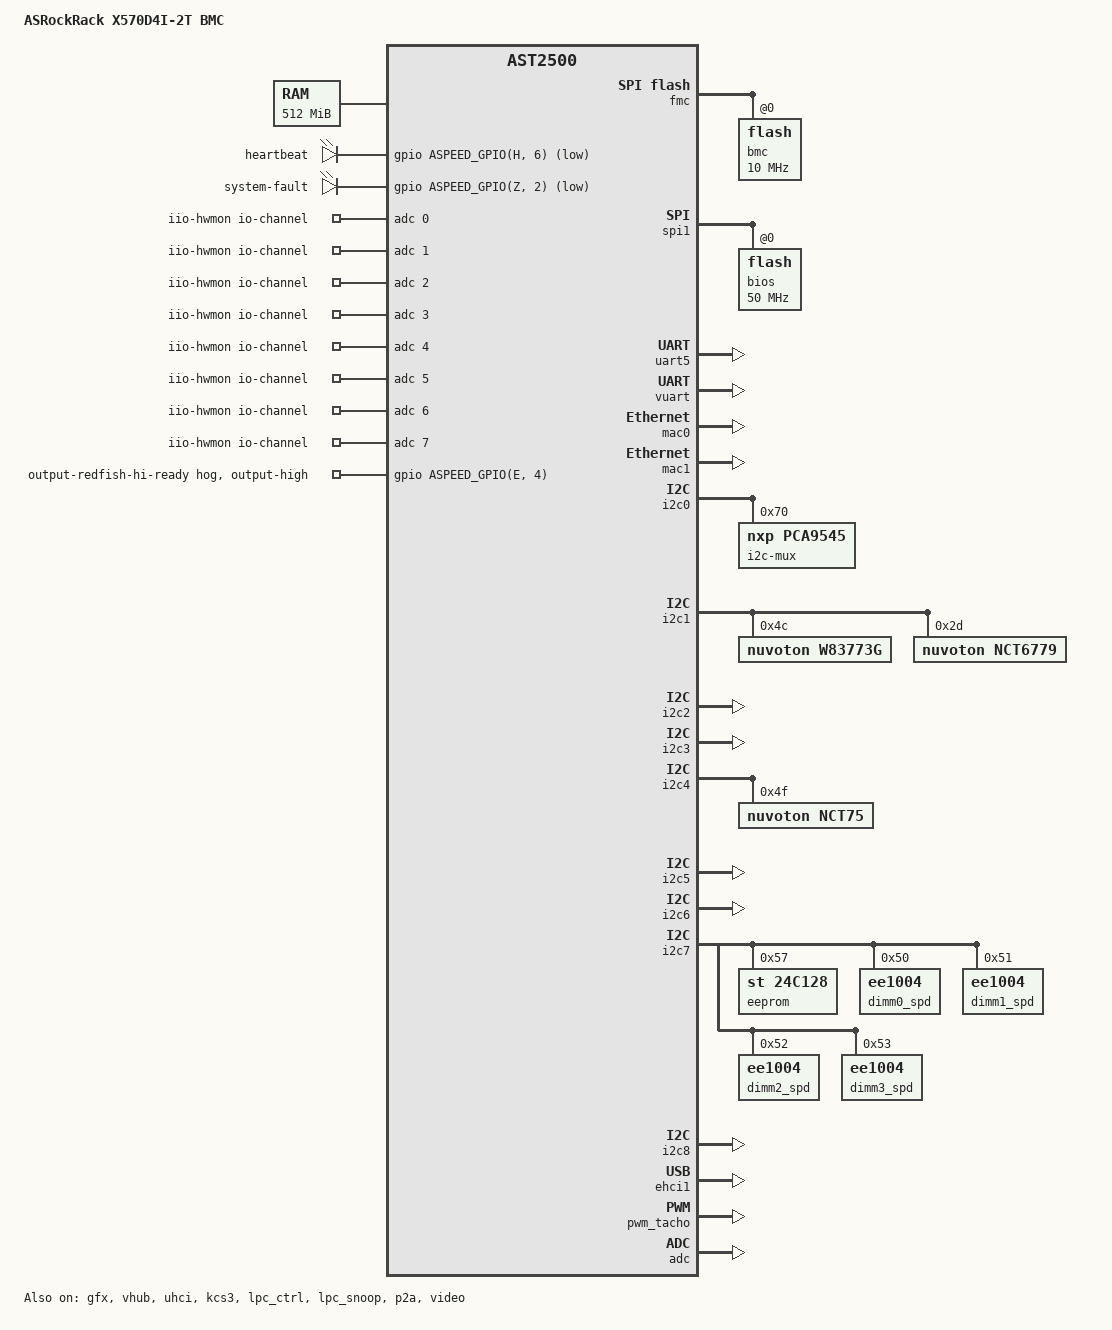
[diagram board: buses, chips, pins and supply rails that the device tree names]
// SPDX-License-Identifier: GPL-2.0+
/dts-v1/;
#include "aspeed-g5.dtsi"
#include <dt-bindings/gpio/aspeed-gpio.h>

/ {
	model = "ASRockRack X570D4I-2T BMC";
	compatible = "asrock,x570d4i2t-bmc", "aspeed,ast2500";

	aliases {
		i2c40 = &i2c0mux0ch0;
		i2c41 = &i2c0mux0ch1;
		i2c42 = &i2c0mux0ch2;
		i2c43 = &i2c0mux0ch3;
	};

	chosen {
		stdout-path = &uart5;
	};

	memory@80000000 {
		reg = <0x80000000 0x20000000>;
	};

	reserved-memory {
		#address-cells = <1>;
		#size-cells = <1>;
		ranges;

		pci_memory: region@9a000000 {
			no-map;
			reg = <0x9a000000 0x00010000>; /* 64K */
		};

		video_engine_memory: jpegbuffer {
			size = <0x02800000>;	/* 40M */
			alignment = <0x01000000>;
			compatible = "shared-dma-pool";
			reusable;
		};

		gfx_memory: framebuffer {
			size = <0x01000000>;
			alignment = <0x01000000>;
			compatible = "shared-dma-pool";
			reusable;
		};
	};

	leds {
		compatible = "gpio-leds";

		/*
		 * Legacy node-name LED labelling — matches the rest of the
		 * ASRock OpenBMC family (ROMED8HM3, SPC621D8HM3, E3C246D4I,
		 * E3C256D4I) and lets the shared phosphor-led-manager
		 * led-group-config.json target these by name.
		 */
		heartbeat {
			gpios = <&gpio ASPEED_GPIO(H, 6) GPIO_ACTIVE_LOW>;
			linux,default-trigger = "timer";
		};

		system-fault {
			gpios = <&gpio ASPEED_GPIO(Z, 2) GPIO_ACTIVE_LOW>;
			panic-indicator;
		};
	};

	iio-hwmon {
		compatible = "iio-hwmon";
		io-channels = <&adc 0>, <&adc 1>, <&adc 2>, <&adc 3>, <&adc 4>,
			<&adc 5>, <&adc 6>, <&adc 7>, <&adc 8>, <&adc 9>,
			<&adc 10>, <&adc 11>, <&adc 12>;
	};
};

&gpio {
	status = "okay";
	gpio-line-names =
	/*  A */ "input-locatorled-n", "", "", "", "", "", "", "",
	/*  B */ "input-bios-post-cmplt-n", "", "", "", "", "", "", "",
	/*  C */ "", "", "", "", "", "", "control-locatorbutton-n", "",
	/*  D */ "button-power-n", "control-power-n", "button-reset-n",
		 "control-reset-n", "", "", "", "",
	/*  E */ "", "", "", "", "output-redfish-hi-ready", "", "", "",
	/*  F */ "", "", "", "", "", "", "", "",
	/*  G */ "output-hwm-vbat-enable", "input-id0-n", "input-id1-n",
		 "input-id2-n", "input-aux-smb-alert-n", "",
		 "input-psu-smb-alert-n", "",
	/*  H */ "", "", "", "", "input-mfg-mode-n", "",
		 "led-heartbeat-n", "input-case-open-n",
	/*  I */ "", "", "", "", "", "", "", "",
	/*  J */ "output-bmc-ready-n", "control-bios-spi-mux-n", "", "", "", "", "", "",
	/*  K */ "", "", "", "", "", "", "", "",
	/*  L */ "", "", "", "", "", "", "", "",
	/*  M */ "", "", "", "", "", "", "", "",
	/*  N */ "", "", "", "", "", "", "", "",
	/*  O */ "", "", "", "", "", "", "", "",
	/*  P */ "", "", "", "", "", "", "", "",
	/*  Q */ "", "", "", "", "input-bmc-smb-present-n", "", "",
		 "input-pcie-wake-n",
	/*  R */ "", "", "", "", "", "", "", "",
	/*  S */ "input-bmc-pchhot-n", "", "", "", "", "", "", "",
	/*  T */ "", "", "", "", "", "", "", "",
	/*  U */ "", "", "", "", "", "", "", "",
	/*  V */ "", "", "", "", "", "", "", "",
	/*  W */ "", "", "", "", "", "", "", "",
	/*  X */ "", "", "", "", "", "", "", "",
	/*  Y */ "input-sleep-s3-n", "input-sleep-s5-n", "", "", "", "",
		 "", "",
	/*  Z */ "", "", "led-fault-n", "output-bmc-throttle-n", "", "",
		 "", "",
	/* AA */ "input-cpu1-thermtrip-latch-n", "",
		 "input-cpu1-prochot-n", "", "", "", "", "",
	/* AB */ "", "input-power-good", "", "", "", "", "", "",
	/* AC */ "", "", "", "", "", "", "", "";

	/*
	 * Drive GPIOE4 high as a "BMC ready" flag for the host BIOS Redfish Host
	 * Interface. RedfishHi (DXE) probes the AST2500 Super-I/O at host I/O
	 * 0x4E/0x4F, selects logical device 0x0D (the iLPC2AHB bridge) and reads
	 * AHB 0x1E780020 (GPIO E/F/G/H data) bit4 = GPIOE4; if it is not 1 it
	 * aborts before bringing up Redfish-over-USB on usb0. The Super-I/O decode
	 * + iLPC2AHB bridge are kept enabled by the u-boot change
	 * (CONFIG_ASPEED_ENABLE_SUPERIO + the isolate_bmc HICRB patch).
	 */
	redfish-hi-ready-hog {
		gpio-hog;
		gpios = <ASPEED_GPIO(E, 4) GPIO_ACTIVE_HIGH>;
		output-high;
		line-name = "output-redfish-hi-ready";
	};
};

&fmc {
	status = "okay";
	flash@0 {
		status = "okay";
		label = "bmc";
		m25p,fast-read;
		spi-max-frequency = <10000000>;
#include "openbmc-flash-layout-64.dtsi"
	};
};

&spi1 {
	status = "okay";
	pinctrl-names = "default";
	pinctrl-0 = <&pinctrl_spi1_default>;
	flash@0 {
		status = "okay";
		label = "bios";
		m25p,fast-read;
		spi-max-frequency = <50000000>;
	};
};

&uart5 {
	status = "okay";
};

&vuart {
	status = "okay";
};

&mac0 {
	/* Dedicated 1GbE management port (Realtek RTL8211E) */
	status = "okay";
	pinctrl-names = "default";
	pinctrl-0 = <&pinctrl_rgmii1_default &pinctrl_mdio1_default>;

	nvmem-cells = <&eth0_macaddress>;
	nvmem-cell-names = "mac-address";
};

&mac1 {
	/* NC-SI sideband to Intel X550-AT2 dual 10GbE */
	status = "okay";
	pinctrl-names = "default";
	pinctrl-0 = <&pinctrl_rmii2_default &pinctrl_mdio2_default>;
	use-ncsi;

	nvmem-cells = <&eth1_macaddress>;
	nvmem-cell-names = "mac-address";
};

&i2c0 {
	/*
	 * PCIe slot and M.2 SMBus. PCA9545 4-channel mux confirmed at 0x70
	 * by live i2cdetect (NACK on i2c4, ACK on i2c0).
	 * Channels: PCIe x16 slot | M.2 slot 1 (NVMe MI) | M.2 slot 2 | Reserved
	 */
	status = "okay";

	i2c-mux@70 {
		compatible = "nxp,pca9545";
		reg = <0x70>;
		#address-cells = <1>;
		#size-cells = <0>;

		i2c0mux0ch0: i2c@0 {
			/* SMBus on PCIe slot (X570D4I-2T: single PCIe x16) */
			#address-cells = <1>;
			#size-cells = <0>;
			reg = <0>;
		};

		i2c0mux0ch1: i2c@1 {
			/*
			 * SMBus on M.2 slot 1 — carries the NVMe MI sideband
			 * used by the stock BMC to report SDR sensor #56
			 * "NVME HDD" temperature. The actual NVMe-MI protocol
			 * is implemented in userspace by dbus-sensors's
			 * NVMeSensor, configured via entity-manager rather
			 * than a kernel driver.
			 */
			#address-cells = <1>;
			#size-cells = <0>;
			reg = <1>;
		};

		i2c0mux0ch2: i2c@2 {
			/* SMBus on M.2 slot 2 */
			#address-cells = <1>;
			#size-cells = <0>;
			reg = <2>;
		};

		i2c0mux0ch3: i2c@3 {
			/* Reserved */
			#address-cells = <1>;
			#size-cells = <0>;
			reg = <3>;
		};
	};
};

&i2c1 {
	/*
	 * Hardware-monitor SMBus (HWM_SMB).
	 *  - 0x4C: Nuvoton W83773G temperature monitor
	 *  - 0x2D: Nuvoton NCT6779/NCT6796 family Super-I/O hardware monitor,
	 *    accessed via its "back door" i2c interface. The host BIOS
	 *    continues to drive the same chip via LPC (front door) and owns
	 *    fan PWM/tach control through its built-in Smart Fan curve. The
	 *    BMC binds nct6775-i2c read-only and surfaces SYSTIN, CPUTIN,
	 *    AUXTIN, the X570 chipset temp (PCH_CHIP_TEMP, == "X570 Temp" on
	 *    the stock MegaRAC), voltages, and fan RPMs into hwmon.
	 */
	status = "okay";

	w83773g@4c {
		compatible = "nuvoton,w83773g";
		reg = <0x4c>;
	};

	nct6779@2d {
		compatible = "nuvoton,nct6779";
		reg = <0x2d>;
	};
};

&i2c2 {
	/*
	 * PSU_SMB1 SMBus (AMI IPMI.conf "PSU_SMB1"). Two devices live here, but
	 * NEITHER is usable, so no child nodes are instantiated:
	 *  - 0x38: Supermicro PWS-505P-1H PSU. Spec'd PMBus, but non-standard:
	 *    the Linux generic `pmbus` driver fails capability ID, raw reads do
	 *    not decode as LINEAR, and the stock MegaRAC SDR contains NO PSU
	 *    power/voltage/current sensor (it never read PSU telemetry either).
	 *  - 0x3C: AMD SB-RMI (APML). Version reg 0x20 reads 0x17, but the
	 *    SB-RMI CTRL/STATUS regs and the MP1 power mailbox NAK all BMC
	 *    access (driver probe fails -EIO). The stock firmware ships with
	 *    SUPPORT_APML_IFC=0 — the OEM disabled APML, and AM4/X570 silicon
	 *    does not expose the EPYC-class SB-RMI power mailbox to the BMC.
	 * Net: no power telemetry or power cap source exists on this board.
	 * The bus is left enabled for manual i2c access / future probing.
	 */
	status = "okay";
};

&i2c3 {
	status = "okay";
};

&i2c4 {
	/*
	 * Auxiliary SMBus. Confirmed live device: Nuvoton NCT75 LM75-compatible
	 * temperature sensor at 0x4f (vendor reg 0xfe=0xde, temp reads ~65°C).
	 * The PCA9545 mux originally assumed here (0x70) is actually on i2c0.
	 */
	status = "okay";

	nct75@4f {
		/*
		 * The NCT75 is LM75-register-compatible, but the kernel lm75
		 * driver's match tables (6.18) have no "nuvoton,nct75" entry —
		 * with only that compatible the driver never binds, no hwmon
		 * appears, and the entity-manager "Aux Temp" (NCT75 @ bus4 0x4f)
		 * sensor silently goes missing. Add the generic "national,lm75"
		 * fallback (in the lm75 of_match table) so the driver binds.
		 */
		compatible = "nuvoton,nct75", "national,lm75";
		reg = <0x4f>;
	};
};

&i2c5 {
	/* SMBus on BMC connector (BMC_SMB_1) */
	status = "okay";
};

&i2c6 {
	/*
	 * Host-shared SMBus per AMI's IPMI.conf (SMBUS_BUS_NUM=6). Likely
	 * carries the host-side fan/temperature SuperIO or CPLD that the
	 * stock BMC's pwmtach.ko configured before commanding fans through
	 * the AST2500 PWM/Tach controller. Enabled for runtime probing
	 * (i2cdetect) — children are added once the actual device is
	 * identified.
	 */
	status = "okay";
};

/*
 * i2c9: probing shows I2C mux chips at 0x72-0x77 (busy — already claimed).
 * No declared devices; leave disabled until topology is mapped.
 * i2c10/i2c11: return "Error reading bus" — no physical connections.
 * i2c12/i2c13: no known devices, leave disabled.
 */

&i2c7 {
	/* FRU and SPD EEPROM SMBus — also holds MAC addresses in NVMEM */
	status = "okay";

	eeprom@57 {
		compatible = "st,24c128", "atmel,24c128";
		reg = <0x57>;
		pagesize = <16>;

		nvmem-layout {
			compatible = "fixed-layout";
			#address-cells = <1>;
			#size-cells = <1>;

			eth0_macaddress: macaddress@3f80 {
				reg = <0x3f80 6>;
			};

			eth1_macaddress: macaddress@3f88 {
				reg = <0x3f88 6>;
			};
		};
	};

	/* DDR4 SPD EEPROMs (EE1004) - kernel drives SPA0/SPA1 page-select */
	dimm0_spd: eeprom@50 {
		compatible = "jedec,ee1004";
		reg = <0x50>;
	};
	dimm1_spd: eeprom@51 {
		compatible = "jedec,ee1004";
		reg = <0x51>;
	};
	dimm2_spd: eeprom@52 {
		compatible = "jedec,ee1004";
		reg = <0x52>;
	};
	dimm3_spd: eeprom@53 {
		compatible = "jedec,ee1004";
		reg = <0x53>;
	};
};

&i2c8 {
	/* SMBus on intelligent platform management bus header (IPMB_1) */
	status = "okay";
};

&gfx {
	status = "okay";
	memory-region = <&gfx_memory>;
};

&vhub {
	/* USB 2.0 virtual hub UDC (virtual media); no USB-NCM/RHI gadget */
	status = "okay";
};

&ehci1 {
	status = "okay";
};

&uhci {
	status = "okay";
};

&kcs3 {
	aspeed,lpc-io-reg = <0xca2>;
	status = "okay";
};

&lpc_ctrl {
	status = "okay";
};

&lpc_snoop {
	/*
	 * AMD AGESA generates 2-byte POST codes: byte-low on port 0x80,
	 * byte-high on port 0x81. Snoop both for full AGESA code capture.
	 */
	status = "okay";
	snoop-ports = <0x80 0x81>;
};

&p2a {
	status = "okay";
	memory-region = <&pci_memory>;
};

&video {
	status = "okay";
	memory-region = <&video_engine_memory>;
};

&pwm_tacho {
	/*
	 * X570D4I-2T has 3 fan headers (FAN1, FAN2, FAN3), all 4-pin,
	 * verified via the stock /api/asrr/settings/getsupportfan endpoint
	 * (only fan1..3 = 1). Channel mapping matches the sibling X570D4U
	 * (same PCB generation): PWM0→FAN1/TACH0, PWM1→FAN2/TACH1,
	 * PWM2→FAN3/TACH2. All headers are single-tach 4-pin.
	 */
	status = "okay";
	pinctrl-names = "default";
	pinctrl-0 = <&pinctrl_pwm0_default
		     &pinctrl_pwm1_default
		     &pinctrl_pwm2_default>;

	fan@0 {
		/* FAN1 (4-pin) */
		reg = <0x00>;
		aspeed,fan-tach-ch = /bits/ 8 <0x00>;
	};

	fan@1 {
		/* FAN2 (4-pin) */
		reg = <0x01>;
		aspeed,fan-tach-ch = /bits/ 8 <0x01>;
	};

	fan@2 {
		/* FAN3 (4-pin) */
		reg = <0x02>;
		aspeed,fan-tach-ch = /bits/ 8 <0x02>;
	};
};

&adc {
	status = "okay";
	pinctrl-names = "default";
	pinctrl-0 = <&pinctrl_adc0_default       /* 3VSB */
			&pinctrl_adc1_default    /* 5VSB */
			&pinctrl_adc2_default    /* VCPU */
			&pinctrl_adc3_default    /* VSOC */
			&pinctrl_adc4_default    /* VCCM */
			&pinctrl_adc5_default    /* APU-VDDP */
			&pinctrl_adc6_default    /* PM-VDD-CLDO */
			&pinctrl_adc7_default    /* PM-VDDCR-S5 */
			&pinctrl_adc8_default    /* PM-VDDCR */
			&pinctrl_adc9_default    /* VBAT */
			&pinctrl_adc10_default   /* 3V */
			&pinctrl_adc11_default   /* 5V */
			&pinctrl_adc12_default>; /* 12V */
};
